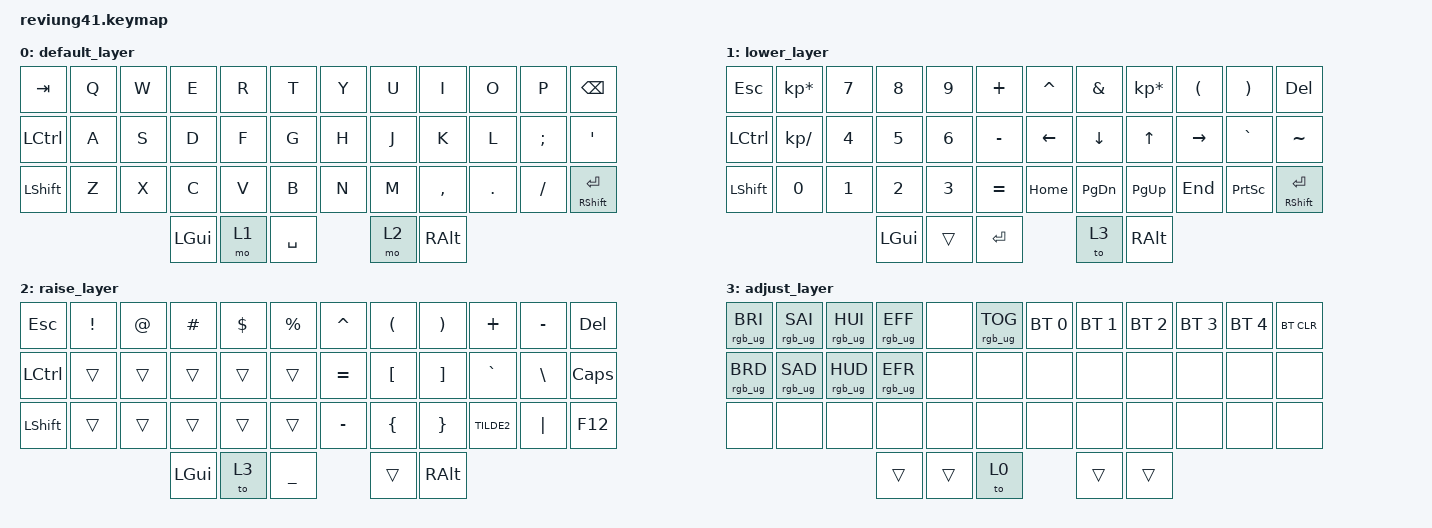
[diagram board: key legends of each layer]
/*
 * Copyright (c) 2020 The ZMK Contributors
 *
 * SPDX-License-Identifier: MIT
 */

#include <behaviors.dtsi>

/*
 * Temporarily here because nice nano v2 spi is not defined on ZMk Yet
 * Source: https://github.com/zmkfirmware/zmk/blob/main/app/boards/shields/reviung41/boards/nice_nano.overlay
 * GitHub Issue: https://github.com/zmkfirmware/zmk/issues/885
 */

#include <dt-bindings/led/led.h>
#include <dt-bindings/zmk/keys.h>
#include <dt-bindings/zmk/rgb.h>
#include <dt-bindings/zmk/bt.h>

&spi1 {
    compatible = "nordic,nrf-spim";
    status = "okay";
    mosi-pin = <6>;

    // Unused pins, needed for SPI definition, but not used by the ws2812 driver itself.

    sck-pin = <5>;
    miso-pin = <7>;

};

/ {
    combos {
        compatible = "zmk,combos";

        combo_escape {
            bindings = <&kp ESC>;
            key-positions = <19 20>;
            timeout-ms = <90>;
            layers = <0>;
        };
    };

    keymap {
        compatible = "zmk,keymap";

        default_layer {
            // -------------------------------------------------------------------------------------
            // |  TAB |  Q  |  W  |  E  |  R  |  T  |   |  Y  |  U   |  I  |  O  |  P  |   BKSP    |
            // | CTRL |  A  |  S  |  D  |  F  |  G  |   |  H  |  J   |  K  |  L  |  ;  |    '      |
            // | SHFT |  Z  |  X  |  C  |  V  |  B  |   |  N  |  M   |  ,  |  .  |  /  | SHFT(RET) |
            //                         | ALT | LWR | SPC | RSE  | ALT |

            bindings = <
   &kp TAB   &kp Q   &kp W     &kp E   &kp R   &kp T              &kp Y   &kp U      &kp I    &kp O     &kp P       &kp BSPC
 &kp LCTRL   &kp A   &kp S     &kp D   &kp F   &kp G              &kp H   &kp J      &kp K    &kp L  &kp SEMI        &kp SQT
 &kp LSHFT   &kp Z   &kp X     &kp C   &kp V   &kp B              &kp N   &kp M  &kp COMMA  &kp DOT  &kp FSLH  &mt RSHFT RET
                            &kp LGUI   &mo 1          &kp SPACE           &mo 2   &kp RALT
            >;
        };

        lower_layer {
            // ----------------------------------------------------------------------------------
            // |    |  !  |  @  |  #  |  $  |  %  |   |  ^  |  &  |  *  |  (  |  )  |    DEL    |
            // |    |  _  |  +  |  {  |  }  | "|" |   | LFT | DWN |  UP | RGT |  `  |     ~     |
            // |    | ESC | GUI | ALT | CAPS|  "  |   | HOME| END | PGUP| PGDN| PRSC| SHFT(RET) |
            //                       |     |     | RET | ADJ |     |

            bindings = <
    &kp ESC  &kp KP_MULTIPLY  &kp NUMBER_7  &kp NUMBER_8  &kp NUMBER_9   &kp PLUS           &kp CARET   &kp AMPS  &kp KP_MULTIPLY   &kp LPAR   &kp RPAR        &kp DEL
  &kp LCTRL    &kp KP_DIVIDE  &kp NUMBER_4  &kp NUMBER_5  &kp NUMBER_6  &kp MINUS            &kp LEFT   &kp DOWN           &kp UP  &kp RIGHT  &kp GRAVE      &kp TILDE
 &kp LSHIFT     &kp NUMBER_0  &kp NUMBER_1  &kp NUMBER_2  &kp NUMBER_3  &kp EQUAL            &kp HOME  &kp PG_DN        &kp PG_UP    &kp END  &kp PSCRN  &mt RSHFT RET
                                                &kp LGUI        &trans             &kp RET                 &to 3         &kp RALT
            >;
        };

        raise_layer {
            // -----------------------------------------------------------------------------------------
            // |    |  1  |  2  |  3  |  4  |  5  |   |  6  |  7  |  8  |  9  |  0  | DEL |
            // |    |  -  |  =  |  [  |  ]  |  \  |   | F1  | F2  | F3  | F4  | F5  | F6  |
            // |    | ESC | GUI | ALT | CAPS|  "  |   | F7  | F8  | F9  | F10 | F11 | F12 |
            //                       |     | ADJ | BKSP |    |     |

            bindings = <
   &kp ESC  &kp EXCL  &kp AT  &kp HASH  &kp DOLLAR  &kp PERCENT             &kp CARET  &kp LEFT_PARENTHESIS  &kp RIGHT_PARENTHESIS    &kp PLUS      &kp MINUS       &kp DEL
 &kp LCTRL    &trans  &trans    &trans      &trans       &trans             &kp EQUAL      &kp LEFT_BRACKET      &kp RIGHT_BRACKET   &kp GRAVE  &kp BACKSLASH  &kp CAPSLOCK
 &kp LSHFT    &trans  &trans    &trans      &trans       &trans             &kp MINUS        &kp LEFT_BRACE        &kp RIGHT_BRACE  &kp TILDE2       &kp PIPE       &kp F12
                              &kp LGUI       &to 3               &kp UNDER                           &trans               &kp RALT
            >;
        };

        adjust_layer {
            // -----------------------------------------------------------------------------------------
            // | RGB BRI+ | RGB SAT+ | RGB HUE+ | RGB ANI+ |    | RGB TOG |   |  BT1  | BT2 | BT3 | BT4 | BT5 | BT CLR |
            // | RGB BRI- | RGB SAT- | RGB HUE- | RGB ANI- |    |         |   |       |     |     |     |     |        |
            // |          |          |          |          |    |         |   | RESET |     |     |     |     |        |
            //                                              |     |     |     |     |     |

            bindings = <
 &rgb_ug RGB_BRI  &rgb_ug RGB_SAI  &rgb_ug RGB_HUI  &rgb_ug RGB_EFF   &none  &rgb_ug RGB_TOG          &bt BT_SEL 0  &bt BT_SEL 1  &bt BT_SEL 2  &bt BT_SEL 3  &bt BT_SEL 4  &bt BT_CLR
 &rgb_ug RGB_BRD  &rgb_ug RGB_SAD  &rgb_ug RGB_HUD  &rgb_ug RGB_EFR   &none            &none                 &none         &none         &none         &none         &none       &none
           &none            &none            &none            &none   &none            &none                &none         &none         &none         &none         &none       &none
                                                             &trans  &trans                    &to 0                      &trans        &trans
            >;
        };
    };
};
